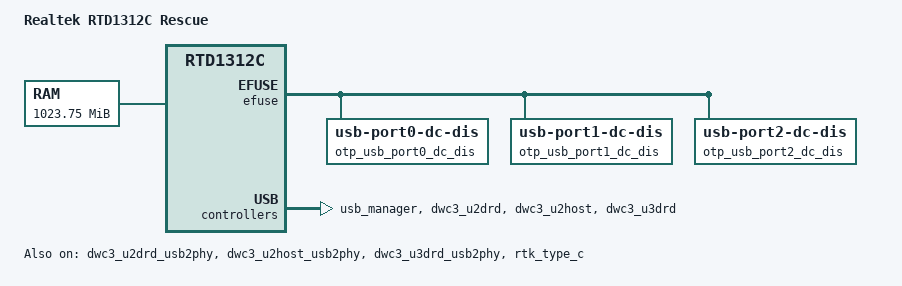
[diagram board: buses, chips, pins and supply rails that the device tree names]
// SPDX-License-Identifier: (GPL-2.0-or-later OR BSD-2-Clause)
/*
 * Copyright (c) 2019-2021 Realtek Semiconductor Corp.
 */

/dts-v1/;

#include "rtd13xx-rescue.dtsi"

/ {
	model = "Realtek RTD1312C Rescue";
	compatible = "realtek,rescue", "realtek,rtd1312c";

	memory@40000 {
		device_type = "memory";
		reg = <0x00040000 0x3ffc0000>; /* 1 GiB */
	};

	chosen {
		bootargs = "earlycon=uart8250,mmio32,0x98007800 console=ttyS0,460800 init=/init NO_RESERVE";
	};
};

&emmc {
	compatible = "rtd1312c-dw-cqe-emmc";
};

&efuse {
	otp_usb_port0_dc_dis: usb-port0-dc-dis@4fe,0 {
		reg = <0x4fe 0x1>;
		bits = <0 4>;
	};
	otp_usb_port1_dc_dis: usb-port1-dc-dis@4fe,4 {
		reg = <0x4fe 0x1>;
		bits = <4 4>;
	};
	otp_usb_port2_dc_dis: usb-port2-dc-dis@4ff,0 {
		reg = <0x4ff 0x1>;
		bits = <0 4>;
	};
};

&usb_manager {
	status = "okay";

	gpio0: gpio0 {
		realtek,power-gpio = <&gpio 48 GPIO_ACTIVE_HIGH>;
		power_low_active;
	};

	gpio1: gpio1 {
		realtek,power-gpio = <&gpio 49 GPIO_ACTIVE_HIGH>;
		power_low_active;
	};

	port0 {
		usb = <&dwc3_u2drd>;
		usb_gpio = <&gpio0>;
	};

	port1 {
		usb = <&dwc3_u2host>;
		usb_gpio = <&gpio1>;
	};

	port2 {
		usb = <&dwc3_u3drd>;
		usb_gpio = <&gpio1>;
	};

	rtk_usb {
		type_c {
			realtek,connector_switch-gpio = <&gpio 30 GPIO_ACTIVE_HIGH>;
		};
	};
};

&dwc3_u2drd_usb2phy {
	compatible = "realtek,rtd1312c-usb2phy";
	nvmem-cells = <&otp_usb_port0_dc_cal>, <&otp_usb_port0_dc_dis>;
	nvmem-cell-names = "usb-dc-cal", "usb-dc-dis";
	status = "okay";
};

&dwc3_u2drd {
	status = "okay";

	boot_check_time = <30000>; /* ms (At boot Device switch Host time) */

	dwc3_u2drd@98020000 {
		dr_mode = "peripheral"; /*host, peripheral*/
		status = "okay";
	};
};

&dwc3_u2host_usb2phy {
	compatible = "realtek,rtd1312c-usb2phy";
	nvmem-cells = <&otp_usb_port1_dc_cal>, <&otp_usb_port1_dc_dis>;
	nvmem-cell-names = "usb-dc-cal", "usb-dc-dis";
	status = "okay";
};

&dwc3_u2host {
	status = "okay";
};

&dwc3_u3drd_usb2phy {
	compatible = "realtek,rtd1312c-usb2phy";
	nvmem-cells = <&otp_usb_port2_dc_cal>, <&otp_usb_port2_dc_dis>;
	nvmem-cell-names = "usb-dc-cal", "usb-dc-dis";
	status = "okay";
};

&dwc3_u3drd_usb3phy {
	status = "disable";
};

&dwc3_u3drd {
	status = "okay";

	dwc3_u3drd@981f0000 {
		dr_mode = "host"; /*host, peripheral*/
		usb-phy = <&dwc3_u3drd_usb2phy>;
		phys = <&dwc3_u3drd_usb2phy>;
		phy-names = "usb2-phy";
		status = "okay";
	};

};

&rtk_type_c {
	status = "okay";

	realtek,usb_port = <&dwc3_u2drd>;

	realtek,default_revision = <0xA00>;
	A00 {
		realtek,cc_dfp_mode = "dfp_3_0"; /*dfp_3_0, dfp_1_5, dfp_usb*/
		realtek,cc1_rp_4p7k_code = <0xE>;
		realtek,cc1_rp_36k_code = <0xC>;
		realtek,cc1_rp_12k_code = <0xC>;
		realtek,cc1_rd_code = <0xA>;
		realtek,cc1_ra_code = <0x3>;
		realtek,cc1_vref_ufp = /bits/ 8
			<0x7 0x7 0x4>; /*<1p23v,0p66v,0p2v>*/
		realtek,cc1_vref_dfp_usb = /bits/ 8
			<0x7 0x4 0x0>; /*<0_1p6v,0p2v,unused>*/
		realtek,cc1_vref_dfp_1_5 = /bits/ 8
			<0x7 0x4 0x4>; /*<1_1p6v,0p4v,0p2v>*/
		realtek,cc1_vref_dfp_3_0 = /bits/ 8
			<0xa 0x7 0x4>; /*<2p6v,0p8v,0p2v>*/
		realtek,cc2_rp_4p7k_code = <0xE>;
		realtek,cc2_rp_36k_code = <0xC>;
		realtek,cc2_rp_12k_code = <0xC>;
		realtek,cc2_rd_code = <0xA>;
		realtek,cc2_ra_code = <0x3>;
		realtek,cc2_vref_ufp = /bits/ 8
			<0x7 0x7 0x4>; /*<1p23v,0p66v,0p2v>*/
		realtek,cc2_vref_dfp_usb = /bits/ 8
			<0x7 0x4 0x0>; /*<0_1p6v,0p2v,unused>*/
		realtek,cc2_vref_dfp_1_5 = /bits/ 8
			<0x7 0x4 0x4>; /*<1_1p6v,0p4v,0p2v>*/
		realtek,cc2_vref_dfp_3_0 = /bits/ 8
			<0xa 0x7 0x4>; /*<2p6v,0p8v,0p2v>*/
	};
};

/delete-node/ &nic;
/delete-node/ &sd;
/delete-node/ &pcie_trans;
/delete-node/ &pcie;
/delete-node/ &pcie1;
/delete-node/ &pcie2;
/delete-node/ &pcie0_phy;
/delete-node/ &pcie1_phy;
/delete-node/ &pcie2_phy;
